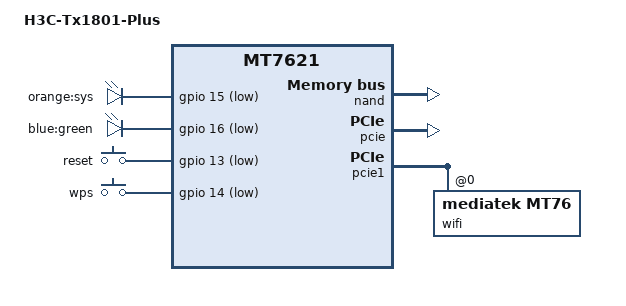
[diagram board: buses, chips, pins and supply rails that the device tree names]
// SPDX-License-Identifier: GPL-2.0-or-later OR MIT

#include "mt7621.dtsi"

#include <dt-bindings/gpio/gpio.h>
#include <dt-bindings/input/input.h>

/ {
	compatible = "h3c,tx1801-plus", "mediatek,mt7621-soc";
	model = "H3C-Tx1801-Plus";

	aliases {
		led-boot = &led_sys_orange;
		led-failsafe = &led_sys_orange;
		led-running = &led_sys_green;
		led-upgrade = &led_sys_orange;
		label-mac-device = &gmac0;
	};

	chosen {
		bootargs = "console=ttyS0,115200n8";
	};

	leds {
		compatible = "gpio-leds";

		led_sys_orange: sys_orange {
			label = "orange:sys";
			gpios = <&gpio 15 GPIO_ACTIVE_LOW>;
		};

		led_sys_green: sys_green {
			label = "blue:green";
			gpios = <&gpio 16 GPIO_ACTIVE_LOW>;
		};

	};

	keys {
		compatible = "gpio-keys";

		reset {
			label = "reset";
			gpios = <&gpio 13 GPIO_ACTIVE_LOW>;
			linux,code = <KEY_RESTART>;
		};

		wps {
			label = "wps";
			gpios = <&gpio 14 GPIO_ACTIVE_LOW>;
			linux,code = <KEY_WPS_BUTTON>;
		};
	};
};

&nand {
	status = "okay";

	partitions {
		compatible = "fixed-partitions";
		#address-cells = <1>;
		#size-cells = <1>;

		partition@0 {
			label = "Bootloader";
			reg = <0x0 0x80000>;
		};

		partition@80000 {
			label = "Nvram";
			reg = <0x80000 0x40000>;
			read-only;
		};

		partition@c0000 {
			label = "Bdata";
			reg = <0xc0000 0x40000>;
			read-only;
		};

		factory: partition@100000 {
			label = "Factory";
			reg = <0x100000 0x80000>;
			read-only;
		};

		partition@180000 {
			label = "crash";
			reg = <0x180000 0x40000>;
			read-only;
		};

		partition@1c0000 {
			label = "crash_log";
			reg = <0x1c0000 0x40000>;
			read-only;
		};

		partition@200000 {
			label = "kernel";
			reg = <0x200000 0x400000>;
		};

		partition@600000 {
			label = "ubi";
			reg = <0x600000 0x7980000>;
		};
	};
};

&pcie {
	status = "okay";
};

&pcie1 {
	wifi@0,0 {
		compatible = "mediatek,mt76";
		reg = <0x0000 0 0 0 0>;
		mediatek,mtd-eeprom = <&factory 0x0>;
	};
};

&gmac0 {
	mtd-mac-address = <&factory 0x3fff4>;
};

&switch0 {
	ports {
		port@0 {
			status = "okay";
			label = "lan1";
		};

		port@1 {
			status = "okay";
			label = "lan2";
		};

		port@2 {
			status = "okay";
			label = "lan3";
		};

		port@3 {
			status = "okay";
			label = "lan4";
		};

		port@4 {
			status = "okay";
			label = "wan";
			mtd-mac-address = <&factory 0x3fffa>;
		};
	};
};

&state_default {
	gpio {
		groups = "jtag", "uart3", "wdt";
		function = "gpio";
	};
};
